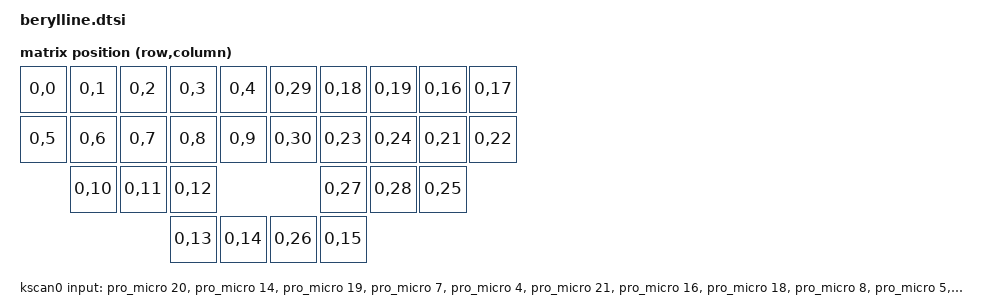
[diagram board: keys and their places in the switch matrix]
/*
 * Copyright (c) 2020 The ZMK Contributors
 *
 * SPDX-License-Identifier: MIT
 */

#include <dt-bindings/zmk/matrix_transform.h>

/ {
	chosen {
		zmk,kscan = &kscan0;
		zmk,matrix_transform = &default_transform;
	};

	default_transform: keymap_transform_0 {
		compatible = "zmk,matrix-transform";
		columns = <30>;
		rows = <1>;
		map = <
			RC(0,0)  RC(0,1)  RC(0,2)  RC(0,3)  RC(0,4)    RC(0,29) RC(0,18) RC(0,19) RC(0,16) RC(0,17)
			RC(0,5)  RC(0,6)  RC(0,7)  RC(0,8)  RC(0,9)    RC(0,30) RC(0,23) RC(0,24) RC(0,21) RC(0,22)
			         RC(0,10) RC(0,11) RC(0,12)                     RC(0,27) RC(0,28) RC(0,25)
			                           RC(0,13) RC(0,14)   RC(0,26) RC(0,15)
		>;
	};

	kscan0: kscan {
		compatible = "zmk,kscan-gpio-direct";
		label = "KSCAN";

		input-gpios	                                            // Left -> Right
		= <&pro_micro 20 (GPIO_ACTIVE_LOW | GPIO_PULL_UP)>		//  0 -> 14 + 15 = 29
		, <&pro_micro 14 (GPIO_ACTIVE_LOW | GPIO_PULL_UP)>		//  1 ->  3 + 15 = 18
		, <&pro_micro 19 (GPIO_ACTIVE_LOW | GPIO_PULL_UP)>		//  2 ->  4 + 15 = 19
		, <&pro_micro 7  (GPIO_ACTIVE_LOW | GPIO_PULL_UP)>		//  3 ->  1 + 15 = 16
		, <&pro_micro 4  (GPIO_ACTIVE_LOW | GPIO_PULL_UP)>		//  4 ->  2 + 15 = 17
		, <&pro_micro 21 (GPIO_ACTIVE_LOW | GPIO_PULL_UP)>		//  5 -> 15 + 15 = 30
		, <&pro_micro 16 (GPIO_ACTIVE_LOW | GPIO_PULL_UP)>		//  6 ->  8 + 15 = 23
		, <&pro_micro 18 (GPIO_ACTIVE_LOW | GPIO_PULL_UP)>		//  7 ->  9 + 15 = 24
		, <&pro_micro 8  (GPIO_ACTIVE_LOW | GPIO_PULL_UP)>		//  8 ->  6 + 15 = 21
		, <&pro_micro 5  (GPIO_ACTIVE_LOW | GPIO_PULL_UP)>		//  9 ->  7 + 15 = 22
		, <&pro_micro 10 (GPIO_ACTIVE_LOW | GPIO_PULL_UP)>		// 10 -> 12 + 15 = 27
		, <&pro_micro 15 (GPIO_ACTIVE_LOW | GPIO_PULL_UP)>		// 11 -> 13 + 15 = 28
		, <&pro_micro 9  (GPIO_ACTIVE_LOW | GPIO_PULL_UP)>		// 12 -> 10 + 15 = 25
		, <&pro_micro 6  (GPIO_ACTIVE_LOW | GPIO_PULL_UP)>		// 13 -> 11 + 15 = 26
		, <&pro_micro 3  (GPIO_ACTIVE_LOW | GPIO_PULL_UP)>		// 14 ->  0 + 15 = 15
		, <&pro_micro 2  (GPIO_ACTIVE_LOW | GPIO_PULL_UP)>		// 15 ->  5 + 15 = 20
		;
	};

};
